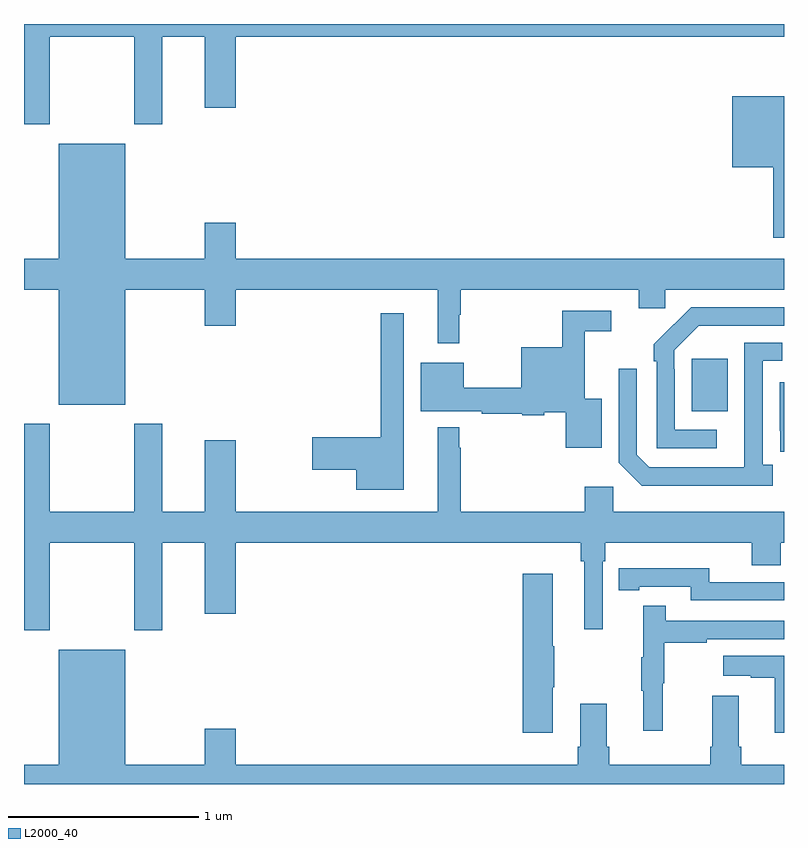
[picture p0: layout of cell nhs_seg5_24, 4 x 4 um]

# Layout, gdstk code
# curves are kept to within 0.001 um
import gdstk
lib = gdstk.Library(unit=1e-6, precision=1e-09)
def R(c, l, rs):  # rectangles x0, y0, x1, y1
    for r in rs: c.add(gdstk.rectangle(r[:2], r[2:], *l))
def P(c, l, *ps):  # polygons
    for p in ps: c.add(gdstk.Polygon(p, *l))
L2000_40 = (2000, 40)

nhs_seg5_24 = lib.new_cell('nhs_seg5_24')
R(nhs_seg5_24, L2000_40, [(114.515,882.761,114.703,883.036)])
P(nhs_seg5_24, L2000_40, [(111.135,884.732),(111.58,884.732),(111.58,884.271),(111.727,884.271),(111.727,884.732),(111.95,884.732),(111.95,884.358),(112.114,884.358),(112.114,884.732),(115,884.732),(115,884.799),(111,884.799),(111,884.271),(111.135,884.271)],
  [(115,884.419),(114.728,884.419),(114.728,884.045),(114.943,884.045),(114.943,883.674),(115,883.674)],
  [(111.532,883.4),(111.95,883.4),(111.95,883.212),(112.114,883.212),(112.114,883.4),(113.177,883.4),(113.177,883.119),(113.291,883.119),(113.291,883.268),(113.299,883.268),(113.299,883.4),(114.236,883.4),(114.236,883.302),(114.375,883.302),(114.375,883.4),(115,883.4),(115,883.564),(112.114,883.564),(112.114,883.753),(111.95,883.753),(111.95,883.564),(111.532,883.564),(111.532,884.17),(111.182,884.17),(111.182,883.564),(111,883.564),(111,883.4),(111.182,883.4),(111.182,882.794),(111.532,882.794)],
  [(114.646,882.663),(114.426,882.663),(114.426,882.983),(114.423,882.983),(114.423,883.083),(114.552,883.212),(115,883.212),(115,883.308),(114.512,883.308),(114.315,883.113),(114.315,883.025),(114.33,883.025),(114.33,882.567),(114.646,882.567)],
  [(114.04,882.826),(113.951,882.826),(113.951,883.182),(114.091,883.182),(114.091,883.29),(113.833,883.29),(113.833,883.099),(113.618,883.099),(113.618,882.884),(113.314,882.884),(113.314,883.015),(113.087,883.015),(113.087,882.761),(113.41,882.761),(113.41,882.748),(113.622,882.748),(113.622,882.74),(113.739,882.74),(113.739,882.755),(113.852,882.755),(113.852,882.569),(114.04,882.569)],
  [(112.999,883.276),(112.878,883.276),(112.878,882.623),(112.518,882.623),(112.518,882.452),(112.748,882.452),(112.748,882.347),(112.999,882.347)],
  [(114.94,882.478),(114.888,882.478),(114.888,883.026),(114.991,883.026),(114.991,883.122),(114.792,883.122),(114.791,882.465),(114.291,882.465),(114.225,882.531),(114.225,882.985),(114.129,882.985),(114.129,882.489),(114.25,882.368),(114.94,882.368)],
  [(115,882.913),(114.978,882.913),(114.978,882.658),(114.979,882.658),(114.979,882.549),(115,882.549)],
  [(111.135,882.068),(111.58,882.068),(111.58,881.607),(111.727,881.607),(111.727,882.068),(111.95,882.068),(111.95,881.694),(112.114,881.694),(112.114,882.068),(113.929,882.068),(113.929,881.972),(113.948,881.972),(113.948,881.613),(114.045,881.613),(114.045,881.972),(114.059,881.972),(114.059,882.068),(114.83,882.068),(114.83,881.951),(114.983,881.951),(114.983,882.068),(115,882.068),(115,882.232),(114.102,882.232),(114.102,882.364),(113.951,882.364),(113.951,882.232),(113.299,882.232),(113.299,882.569),(113.292,882.569),(113.292,882.676),(113.177,882.676),(113.177,882.232),(112.114,882.232),(112.114,882.607),(111.95,882.607),(111.95,882.232),(111.727,882.232),(111.727,882.694),(111.58,882.694),(111.58,882.232),(111.135,882.232),(111.135,882.694),(111,882.694),(111,881.607),(111.135,881.607)],
  [(115,881.862),(114.606,881.862),(114.606,881.935),(114.238,881.935),(114.238,881.934),(114.13,881.934),(114.13,881.818),(114.238,881.818),(114.238,881.838),(114.51,881.838),(114.51,881.766),(115,881.766)],
  [(113.782,881.308),(113.79,881.308),(113.79,881.525),(113.782,881.525),(113.782,881.905),(113.624,881.905),(113.624,881.07),(113.782,881.07)],
  [(114.362,881.328),(114.37,881.328),(114.37,881.542),(114.593,881.542),(114.593,881.562),(115,881.562),(115,881.658),(114.377,881.658),(114.377,881.737),(114.26,881.737),(114.26,881.465),(114.249,881.465),(114.249,881.291),(114.26,881.291),(114.26,881.079),(114.362,881.079)],
  [(115,880.9),(114.776,880.9),(114.776,880.996),(114.763,880.996),(114.763,881.263),(114.623,881.263),(114.623,880.996),(114.611,880.996),(114.611,880.9),(114.08,880.9),(114.08,880.996),(114.067,880.996),(114.067,881.221),(113.927,881.221),(113.927,880.996),(113.915,880.996),(113.915,880.9),(112.114,880.9),(112.114,881.089),(111.95,881.089),(111.95,880.9),(111.532,880.9),(111.532,881.506),(111.182,881.506),(111.182,880.9),(111,880.9),(111,880.799),(115,880.799)],
  [(115,881.473),(114.681,881.473),(114.681,881.369),(114.824,881.369),(114.824,881.359),(114.95,881.359),(114.95,881.07),(115,881.07)])

lib.write_gds('nhs_seg5_24.gds')
